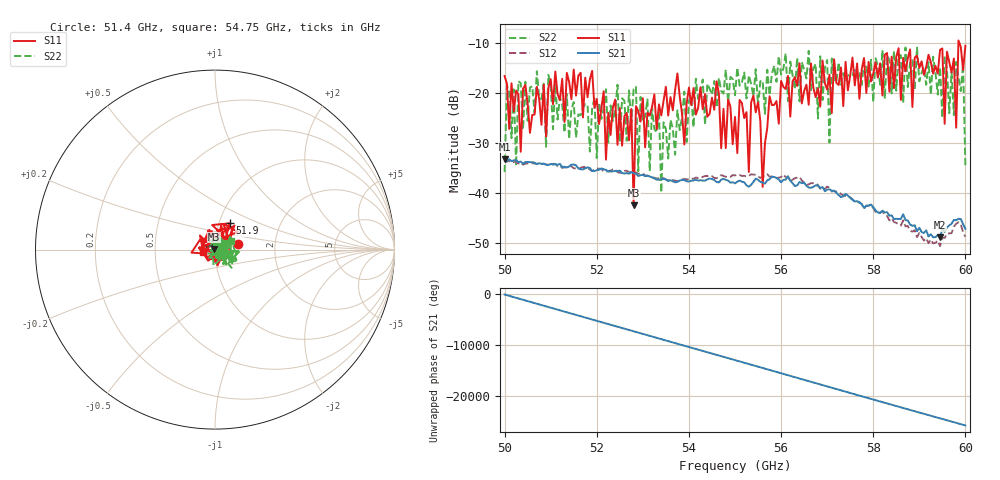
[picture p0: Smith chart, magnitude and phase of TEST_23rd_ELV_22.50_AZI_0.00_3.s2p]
! 11/23/2026 3:04:57 PM
! C:\ANRITSUVNA\TEMP\TEMP.S2P
! CHANNEL.1
! TR.MEASUREMENT
! RAW.DATA
# HZ S RI R 50.0
! FREQ.HZ  S11RE  S11IM  S21RE  S21IM  S12RE  S12IM  S22RE  S22IM
!; PortSelection: Port_12
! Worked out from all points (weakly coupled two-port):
!   201 points, 50 GHz to 60 GHz, reference 50 ohm
!   highest |S21| = -33.14 dB at 50 GHz (marker M1); lowest = -48.9 dB at 59.45 GHz (marker M2)
!   lowest |S11| = -42.4 dB at 52.8 GHz (marker M3), VSWR 1.02, Z = 49.3 + j0.289 ohm
!   |S11| at or under -10 dB: start of sweep to 59.85 GHz; 59.87373 GHz to end of sweep
!   |S22| runs from -39.9 to -10.8 dB; largest |S21 - S12| = 0.033
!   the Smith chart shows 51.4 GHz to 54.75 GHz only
!   S11 on the Smith chart (normalised r, x): 51.4 GHz: 1.29, +0.09; 51.9 GHz: 1.13, +0.34; 54.75 GHz: 0.87, -0.03
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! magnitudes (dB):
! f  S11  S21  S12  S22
! 50 GHz  -16.5  -33.1  -33.2  -35.8
! 50.05 GHz  -18.0  -33.6  -33.7  -18.4
! 51.4 GHz  -17.7  -34.7  -34.5  -29.2
! 51.7 GHz  -24.8  -35.3  -34.8  -22.9
! 51.9 GHz  -15.5  -35.6  -35.6  -23.0
! 52.75 GHz  -23.1  -35.8  -35.7  -26.0
! 52.8 GHz  -42.4  -36.0  -36.1  -19.1
! 52.85 GHz  -22.6  -36.1  -35.8  -18.7
! 52.9 GHz  -23.5  -36.6  -36.1  -35.6
! 53.35 GHz  -22.2  -37.3  -37.0  -23.6
! 53.4 GHz  -24.4  -37.2  -37.0  -39.9
! 54.75 GHz  -23.1  -37.2  -36.5  -20.0
! 55 GHz  -24.7  -38.1  -36.5  -20.4
! 55.6 GHz  -38.7  -37.9  -36.7  -17.5
! 55.75 GHz  -20.6  -37.2  -36.7  -20.4
! 56.7 GHz  -18.9  -38.7  -38.0  -15.1
! 57.05 GHz  -16.3  -39.2  -38.9  -29.9
! 57.1 GHz  -23.9  -39.5  -39.7  -13.0
! 58.35 GHz  -19.7  -44.5  -45.5  -13.2
! 59.45 GHz  -11.3  -48.9  -50.6  -14.8
! 59.95 GHz  -15.3  -46.2  -47.8  -14.1
! 60 GHz  -10.5  -47.1  -48.8  -34.5
